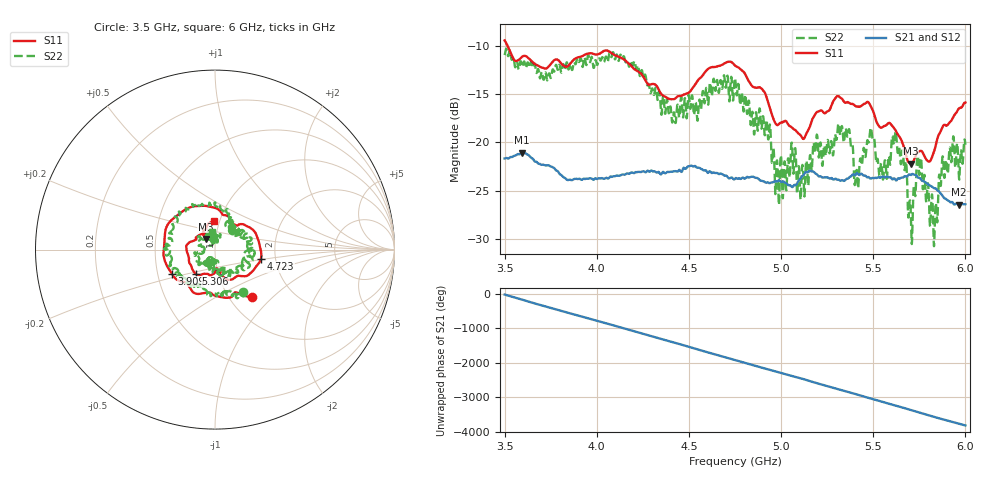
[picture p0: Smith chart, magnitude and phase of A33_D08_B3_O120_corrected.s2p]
! Created with skrf 1.9.0 (http://scikit-rf.org).
# Hz S RI R 50.0
!freq ReS11 ImS11 ReS21 ImS21 ReS12 ImS12 ReS22 ImS22
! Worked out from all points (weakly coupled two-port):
!   1601 points, 3.5 GHz to 6 GHz, reference 50 ohm
!   highest |S21| = -21.06 dB at 3.594 GHz (marker M1); lowest = -26.5 dB at 5.964 GHz (marker M2)
!   lowest |S11| = -22.2 dB at 5.703 GHz (marker M3), VSWR 1.17, Z = 44.9 + j5.3 ohm
!   |S11| at or under -10 dB: 3.515 GHz to end of sweep
!   |S22| runs from -30.7 to -10.3 dB; largest |S21 - S12| = 0.001
!   S11 on the Smith chart (normalised r, x): 3.5 GHz: 1.27, -0.76; 3.909 GHz: 0.59, -0.17; 4.723 GHz: 1.67, -0.19; 5.306 GHz: 0.78, -0.22; 6 GHz: 0.93, +0.31
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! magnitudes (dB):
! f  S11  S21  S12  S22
! 3.5 GHz  -9.5  -21.7  -21.6  -11.0
! 3.594 GHz  -11.2  -21.1  -21.1  -12.1
! 3.909 GHz  -11.2  -23.8  -23.8  -11.4
! 3.917 GHz  -11.1  -23.9  -23.9  -11.6
! 4.334 GHz  -14.5  -23.1  -23.0  -15.2
! 4.723 GHz  -11.7  -23.7  -23.6  -14.8
! 4.75 GHz  -12.1  -23.8  -23.7  -13.4
! 4.931 GHz  -16.0  -24.2  -24.1  -19.7
! 4.98 GHz  -18.2  -24.0  -24.0  -22.1
! 5.167 GHz  -17.7  -23.0  -23.0  -22.8
! 5.306 GHz  -15.2  -23.9  -23.8  -18.8
! 5.362 GHz  -15.9  -23.8  -23.7  -19.2
! 5.409 GHz  -16.3  -23.2  -23.2  -22.9
! 5.491 GHz  -16.4  -23.7  -23.7  -18.8
! 5.584 GHz  -18.0  -23.6  -23.6  -21.4
! 5.63 GHz  -19.1  -23.8  -23.8  -20.5
! 5.703 GHz  -22.2  -23.4  -23.4  -26.9
! 5.748 GHz  -20.9  -23.7  -23.7  -23.2
! 5.838 GHz  -20.4  -24.8  -24.7  -26.4
! 5.869 GHz  -18.8  -25.3  -25.3  -23.9
! 5.964 GHz  -16.5  -26.5  -26.4  -23.2
! 6 GHz  -15.9  -26.4  -26.4  -20.2
